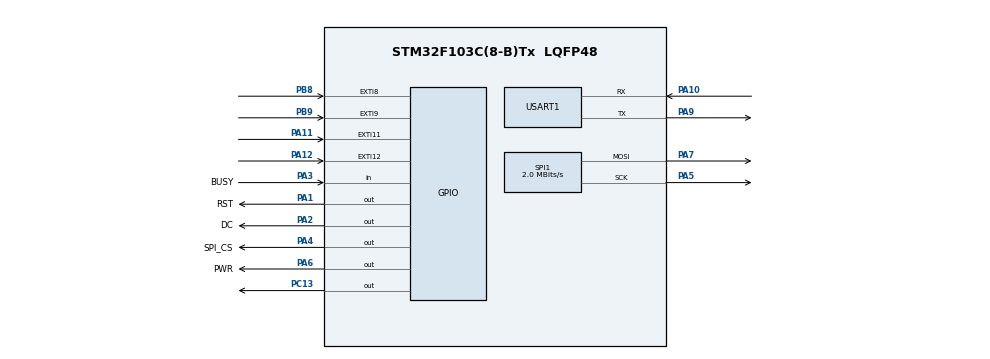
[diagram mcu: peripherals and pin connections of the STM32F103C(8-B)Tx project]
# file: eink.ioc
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Mcu.Family=STM32F1
Mcu.Name=STM32F103C(8-B)Tx
Mcu.Package=LQFP48
NVIC.EXTI15_10_IRQn=true\:0\:0\:false\:false\:true\:true\:true\:true
NVIC.EXTI9_5_IRQn=true\:0\:0\:false\:false\:true\:true\:true\:true
NVIC.PriorityGroup=NVIC_PRIORITYGROUP_4
NVIC.RTC_Alarm_IRQn=true\:0\:0\:false\:false\:true\:true\:true\:true
NVIC.TIM2_IRQn=true\:2\:0\:true\:false\:true\:true\:true\:true
NVIC.TIM3_IRQn=true\:1\:0\:true\:false\:true\:true\:true\:true
NVIC.USART1_IRQn=true\:0\:0\:false\:false\:true\:true\:true\:true
PA0-WKUP.Mode=SYS_WakeUp0
PA0-WKUP.Signal=SYS_WKUP
PA1.GPIO_Label=RST
PA1.Signal=GPIO_Output
PA10.Mode=Asynchronous
PA10.Signal=USART1_RX
PA11.Signal=GPXTI11
PA12.Signal=GPXTI12
PA13.Mode=Serial_Wire
PA13.Signal=SYS_JTMS-SWDIO
PA14.Mode=Serial_Wire
PA14.Signal=SYS_JTCK-SWCLK
PA2.GPIO_Label=DC
PA2.Signal=GPIO_Output
PA3.GPIO_Label=BUSY
PA3.Signal=GPIO_Input
PA4.GPIO_Label=SPI_CS
PA4.Signal=GPIO_Output
PA5.Mode=TX_Only_Simplex_Unidirect_Master
PA5.Signal=SPI1_SCK
PA6.GPIO_Label=PWR
PA6.Signal=GPIO_Output
PA7.Mode=TX_Only_Simplex_Unidirect_Master
PA7.Signal=SPI1_MOSI
PA9.Mode=Asynchronous
PA9.Signal=USART1_TX
PB8.Signal=GPXTI8
PB9.Signal=GPXTI9
PC13-TAMPER-RTC.Signal=GPIO_Output
ProjectManager.HeapSize=0x200
ProjectManager.StackSize=0x400
ProjectManager.TargetToolchain=STM32CubeIDE
RCC.APB1Freq_Value=8000000
RCC.APB2Freq_Value=8000000
SPI1.BaudRatePrescaler=SPI_BAUDRATEPRESCALER_4
SPI1.CalculateBaudRate=2.0 MBits/s
SPI1.Direction=SPI_DIRECTION_2LINES
SPI1.Mode=SPI_MODE_MASTER
SPI1.VirtualType=VM_MASTER
TIM2.Period=9999
TIM2.Prescaler=7999
TIM3.Period=499
TIM3.Prescaler=7999
USART1.VirtualMode=VM_ASYNC
VP_RTC_VS_RTC_Activate.Mode=RTC_Enabled
VP_RTC_VS_RTC_Calendar.Mode=RTC_Calendar
VP_TIM2_VS_ClockSourceINT.Mode=Internal
VP_TIM3_VS_ClockSourceINT.Mode=Internal
board=custom

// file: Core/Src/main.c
/* USER CODE BEGIN Header */
/**
  ******************************************************************************
  * @file           : main.c
  * @brief          : Main program body
  ******************************************************************************
  * @attention
  *
  * Copyright (c) 2024 STMicroelectronics.
  * All rights reserved.
  *
  * This software is licensed under terms that can be found in the LICENSE file
  * in the root directory of this software component.
  * If no LICENSE file comes with this software, it is provided AS-IS.
  *
  ******************************************************************************
  */
/* USER CODE END Header */
#include "main.h"

/* USER CODE BEGIN Includes */
#include "../User/Examples/EPD_Test.h"
#include "../User/e-Paper/EPD_1in54b.h"
#include "mode.h"
#include "pic.h"

/* USER CODE END Includes */

/* USER CODE BEGIN PTD */
typedef enum{
	IDLE,
	BUTTON_0,
	BUTTON_1,
	BUTTON_2,
	BUTTON_3,
	ALARM,
	SLEEP
}t_flag;

/* USER CODE END PTD */

/* USER CODE BEGIN PD */
#define SET 1
/* USER CODE END PD */

RTC_HandleTypeDef hrtc;

SPI_HandleTypeDef hspi1;

TIM_HandleTypeDef htim2;
TIM_HandleTypeDef htim3;

UART_HandleTypeDef huart1;

void SystemClock_Config(void);
static void MX_GPIO_Init(void);
static void MX_SPI1_Init(void);
static void MX_USART1_UART_Init(void);
static void MX_RTC_Init(void);
static void MX_TIM2_Init(void);
static void MX_TIM3_Init(void);
/* USER CODE BEGIN PFP */
void (*button0_mode_ptr)(void);
void (*button1_mode_ptr)(void);
void (*button2_mode_ptr)(void);
void (*button3_mode_ptr)(void);
void sleep_mode(void);
/* USER CODE END PFP */

/* USER CODE BEGIN 0 */
uint8_t blink;
t_flag flag;
uint8_t cycle, temp_cycle, alarm_times;
RTC_TimeTypeDef current_time, temp_time, alarm_time;
RTC_DateTypeDef current_date, temp_date, alarm_date;

UBYTE *BlackImage, *RedImage;
UWORD Imagesize = ((EPD_1IN54B_WIDTH % 8 == 0)? (EPD_1IN54B_WIDTH / 8 ): (EPD_1IN54B_WIDTH / 8 + 1)) * EPD_1IN54B_HEIGHT;

int __io_putchar(uint8_t ch){
	HAL_UART_Transmit(&huart1, &ch, 1, 10);
	return ch;
}

void HAL_GPIO_EXTI_Callback(uint16_t GPIO_Pin){
	/*Reset timer counter*/
	__HAL_TIM_SET_COUNTER(&htim2, 0);

	if(GPIO_Pin == GPIO_PIN_8){
		flag = BUTTON_0;
	}
	if(GPIO_Pin == GPIO_PIN_9){
		flag = BUTTON_1;
	}
	if(GPIO_Pin == GPIO_PIN_11){
		flag = BUTTON_2;
	}
	if(GPIO_Pin == GPIO_PIN_12){
		flag = BUTTON_3;
	}
}

void HAL_RTC_AlarmAEventCallback(RTC_HandleTypeDef *hrtc){
	flag = ALARM;
}

uint8_t tmp = 0;

void HAL_TIM_PeriodElapsedCallback(TIM_HandleTypeDef *htim){
	if(htim->Instance == htim2.Instance){
		flag = SLEEP;
	}
	if(htim->Instance == htim3.Instance){
		tmp++;
		HAL_GPIO_TogglePin(GPIOC, GPIO_PIN_13);
	}
}
/* USER CODE END 0 */

int main(void)
{

  /* MCU Configuration--------------------------------------------------------*/

  /* Reset of all peripherals, Initializes the Flash interface and the Systick. */
  HAL_Init();

  /* Configure the system clock */
  SystemClock_Config();

  /* Initialize all configured peripherals */
  MX_GPIO_Init();
  MX_SPI1_Init();
  MX_USART1_UART_Init();
  MX_RTC_Init();
  MX_TIM2_Init();
  MX_TIM3_Init();
  /* USER CODE BEGIN 2 */
  HAL_TIM_Base_Start_IT(&htim2);
  HAL_TIM_Base_Start_IT(&htim3);
  DEV_Module_Init();
  EPD_1IN54B_Init();

  if((BlackImage = (UBYTE *)malloc(Imagesize)) == NULL) {
      printf("Failed to apply for black memory...\r\n");
      return -1;
  }
  if((RedImage = (UBYTE *)malloc(Imagesize)) == NULL) {
      printf("Failed to apply for red memory...\r\n");
      return -1;
  }

  Paint_NewImage(BlackImage, EPD_1IN54B_WIDTH, EPD_1IN54B_HEIGHT, 270, WHITE);
  Paint_NewImage(RedImage, EPD_1IN54B_WIDTH, EPD_1IN54B_HEIGHT, 270, WHITE);
  Paint_SelectImage(BlackImage);
  Paint_Clear(WHITE);
  Paint_DrawBitMap(stitch);
  Paint_SelectImage(RedImage);
  Paint_Clear(WHITE);
  Paint_DrawBitMap(stitch);
  EPD_1IN54B_Display(BlackImage, RedImage);

  if(SET){
	  current_time.Hours = 17;
	  current_time.Minutes = 24;
	  current_time.Seconds = 30;
	  current_date.Date = 3;
	  current_date.Month = 2;
	  current_date.Year = 24;
	  current_date.WeekDay = 5;
	  HAL_RTC_SetTime(&hrtc, &current_time, RTC_FORMAT_BIN);
	  HAL_RTC_SetDate(&hrtc, &current_date, RTC_FORMAT_BIN);
  }
  flag = IDLE;
  TIM2->CNT = 0;

  HAL_TIM_Base_Start_IT(&htim2);
  HAL_TIM_Base_Start_IT(&htim3);
  /* USER CODE END 2 */

  /* Infinite loop */
  while (1)
  {

    /* USER CODE BEGIN 3 */
	  switch (flag) {
		case SLEEP:
			sleep_mode();
			break;
		default:
		  HAL_RTC_GetTime(&hrtc, &current_time, RTC_FORMAT_BIN);
		  HAL_RTC_GetDate(&hrtc, &current_date, RTC_FORMAT_BIN);
		  display_mode();
		  break;
	}
  }
  /* USER CODE END 3 */
}

void SystemClock_Config(void)
{
  RCC_OscInitTypeDef RCC_OscInitStruct = {0};
  RCC_ClkInitTypeDef RCC_ClkInitStruct = {0};
  RCC_PeriphCLKInitTypeDef PeriphClkInit = {0};

  /** Initializes the RCC Oscillators according to the specified parameters
  * in the RCC_OscInitTypeDef structure.
  */
  RCC_OscInitStruct.OscillatorType = RCC_OSCILLATORTYPE_HSI|RCC_OSCILLATORTYPE_LSI;
  RCC_OscInitStruct.HSIState = RCC_HSI_ON;
  RCC_OscInitStruct.HSICalibrationValue = RCC_HSICALIBRATION_DEFAULT;
  RCC_OscInitStruct.LSIState = RCC_LSI_ON;
  RCC_OscInitStruct.PLL.PLLState = RCC_PLL_NONE;
  if (HAL_RCC_OscConfig(&RCC_OscInitStruct) != HAL_OK)
  {
    Error_Handler();
  }

  /** Initializes the CPU, AHB and APB buses clocks
  */
  RCC_ClkInitStruct.ClockType = RCC_CLOCKTYPE_HCLK|RCC_CLOCKTYPE_SYSCLK
                              |RCC_CLOCKTYPE_PCLK1|RCC_CLOCKTYPE_PCLK2;
  RCC_ClkInitStruct.SYSCLKSource = RCC_SYSCLKSOURCE_HSI;
  RCC_ClkInitStruct.AHBCLKDivider = RCC_SYSCLK_DIV1;
  RCC_ClkInitStruct.APB1CLKDivider = RCC_HCLK_DIV1;
  RCC_ClkInitStruct.APB2CLKDivider = RCC_HCLK_DIV1;

  if (HAL_RCC_ClockConfig(&RCC_ClkInitStruct, FLASH_LATENCY_0) != HAL_OK)
  {
    Error_Handler();
  }
  PeriphClkInit.PeriphClockSelection = RCC_PERIPHCLK_RTC;
  PeriphClkInit.RTCClockSelection = RCC_RTCCLKSOURCE_LSI;
  if (HAL_RCCEx_PeriphCLKConfig(&PeriphClkInit) != HAL_OK)
  {
    Error_Handler();
  }
}

static void MX_RTC_Init(void)
{

  RTC_TimeTypeDef sTime = {0};
  RTC_DateTypeDef DateToUpdate = {0};

  /** Initialize RTC Only
  */
  hrtc.Instance = RTC;
  hrtc.Init.AsynchPrediv = RTC_AUTO_1_SECOND;
  hrtc.Init.OutPut = RTC_OUTPUTSOURCE_ALARM;
  if (HAL_RTC_Init(&hrtc) != HAL_OK)
  {
    Error_Handler();
  }

  /** Initialize RTC and set the Time and Date
  */
  sTime.Hours = 0x0;
  sTime.Minutes = 0x0;
  sTime.Seconds = 0x0;

  if (HAL_RTC_SetTime(&hrtc, &sTime, RTC_FORMAT_BCD) != HAL_OK)
  {
    Error_Handler();
  }
  DateToUpdate.WeekDay = RTC_WEEKDAY_MONDAY;
  DateToUpdate.Month = RTC_MONTH_JANUARY;
  DateToUpdate.Date = 0x1;
  DateToUpdate.Year = 0x0;

  if (HAL_RTC_SetDate(&hrtc, &DateToUpdate, RTC_FORMAT_BCD) != HAL_OK)
  {
    Error_Handler();
  }

}

static void MX_SPI1_Init(void)
{

  /* SPI1 parameter configuration*/
  hspi1.Instance = SPI1;
  hspi1.Init.Mode = SPI_MODE_MASTER;
  hspi1.Init.Direction = SPI_DIRECTION_2LINES;
  hspi1.Init.DataSize = SPI_DATASIZE_8BIT;
  hspi1.Init.CLKPolarity = SPI_POLARITY_LOW;
  hspi1.Init.CLKPhase = SPI_PHASE_1EDGE;
  hspi1.Init.NSS = SPI_NSS_SOFT;
  hspi1.Init.BaudRatePrescaler = SPI_BAUDRATEPRESCALER_4;
  hspi1.Init.FirstBit = SPI_FIRSTBIT_MSB;
  hspi1.Init.TIMode = SPI_TIMODE_DISABLE;
  hspi1.Init.CRCCalculation = SPI_CRCCALCULATION_DISABLE;
  hspi1.Init.CRCPolynomial = 10;
  if (HAL_SPI_Init(&hspi1) != HAL_OK)
  {
    Error_Handler();
  }

}

static void MX_TIM2_Init(void)
{

  TIM_ClockConfigTypeDef sClockSourceConfig = {0};
  TIM_MasterConfigTypeDef sMasterConfig = {0};

  htim2.Instance = TIM2;
  htim2.Init.Prescaler = 7999;
  htim2.Init.CounterMode = TIM_COUNTERMODE_UP;
  htim2.Init.Period = 9999;
  htim2.Init.ClockDivision = TIM_CLOCKDIVISION_DIV1;
  htim2.Init.AutoReloadPreload = TIM_AUTORELOAD_PRELOAD_DISABLE;
  if (HAL_TIM_Base_Init(&htim2) != HAL_OK)
  {
    Error_Handler();
  }
  sClockSourceConfig.ClockSource = TIM_CLOCKSOURCE_INTERNAL;
  if (HAL_TIM_ConfigClockSource(&htim2, &sClockSourceConfig) != HAL_OK)
  {
    Error_Handler();
  }
  sMasterConfig.MasterOutputTrigger = TIM_TRGO_RESET;
  sMasterConfig.MasterSlaveMode = TIM_MASTERSLAVEMODE_DISABLE;
  if (HAL_TIMEx_MasterConfigSynchronization(&htim2, &sMasterConfig) != HAL_OK)
  {
    Error_Handler();
  }

}

static void MX_TIM3_Init(void)
{

  TIM_ClockConfigTypeDef sClockSourceConfig = {0};
  TIM_MasterConfigTypeDef sMasterConfig = {0};

  htim3.Instance = TIM3;
  htim3.Init.Prescaler = 7999;
  htim3.Init.CounterMode = TIM_COUNTERMODE_UP;
  htim3.Init.Period = 499;
  htim3.Init.ClockDivision = TIM_CLOCKDIVISION_DIV1;
  htim3.Init.AutoReloadPreload = TIM_AUTORELOAD_PRELOAD_DISABLE;
  if (HAL_TIM_Base_Init(&htim3) != HAL_OK)
  {
    Error_Handler();
  }
  sClockSourceConfig.ClockSource = TIM_CLOCKSOURCE_INTERNAL;
  if (HAL_TIM_ConfigClockSource(&htim3, &sClockSourceConfig) != HAL_OK)
  {
    Error_Handler();
  }
  sMasterConfig.MasterOutputTrigger = TIM_TRGO_RESET;
  sMasterConfig.MasterSlaveMode = TIM_MASTERSLAVEMODE_DISABLE;
  if (HAL_TIMEx_MasterConfigSynchronization(&htim3, &sMasterConfig) != HAL_OK)
  {
    Error_Handler();
  }

}

static void MX_USART1_UART_Init(void)
{

  huart1.Instance = USART1;
  huart1.Init.BaudRate = 115200;
  huart1.Init.WordLength = UART_WORDLENGTH_8B;
  huart1.Init.StopBits = UART_STOPBITS_1;
  huart1.Init.Parity = UART_PARITY_NONE;
  huart1.Init.Mode = UART_MODE_TX_RX;
  huart1.Init.HwFlowCtl = UART_HWCONTROL_NONE;
  huart1.Init.OverSampling = UART_OVERSAMPLING_16;
  if (HAL_UART_Init(&huart1) != HAL_OK)
  {
    Error_Handler();
  }

}

static void MX_GPIO_Init(void)
{
  GPIO_InitTypeDef GPIO_InitStruct = {0};

  /* GPIO Ports Clock Enable */
  __HAL_RCC_GPIOC_CLK_ENABLE();
  __HAL_RCC_GPIOA_CLK_ENABLE();
  __HAL_RCC_GPIOB_CLK_ENABLE();

  /*Configure GPIO pin Output Level */
  HAL_GPIO_WritePin(GPIOC, GPIO_PIN_13, GPIO_PIN_RESET);

  /*Configure GPIO pin Output Level */
  HAL_GPIO_WritePin(GPIOA, RST_Pin|DC_Pin|SPI_CS_Pin|PWR_Pin, GPIO_PIN_RESET);

  /*Configure GPIO pin : PC13 */
  GPIO_InitStruct.Pin = GPIO_PIN_13;
  GPIO_InitStruct.Mode = GPIO_MODE_OUTPUT_PP;
  GPIO_InitStruct.Pull = GPIO_NOPULL;
  GPIO_InitStruct.Speed = GPIO_SPEED_FREQ_LOW;
  HAL_GPIO_Init(GPIOC, &GPIO_InitStruct);

  /*Configure GPIO pins : RST_Pin DC_Pin SPI_CS_Pin PWR_Pin */
  GPIO_InitStruct.Pin = RST_Pin|DC_Pin|SPI_CS_Pin|PWR_Pin;
  GPIO_InitStruct.Mode = GPIO_MODE_OUTPUT_PP;
  GPIO_InitStruct.Pull = GPIO_NOPULL;
  GPIO_InitStruct.Speed = GPIO_SPEED_FREQ_LOW;
  HAL_GPIO_Init(GPIOA, &GPIO_InitStruct);

  /*Configure GPIO pin : BUSY_Pin */
  GPIO_InitStruct.Pin = BUSY_Pin;
  GPIO_InitStruct.Mode = GPIO_MODE_INPUT;
  GPIO_InitStruct.Pull = GPIO_NOPULL;
  HAL_GPIO_Init(BUSY_GPIO_Port, &GPIO_InitStruct);

  /*Configure GPIO pins : PA11 PA12 */
  GPIO_InitStruct.Pin = GPIO_PIN_11|GPIO_PIN_12;
  GPIO_InitStruct.Mode = GPIO_MODE_IT_RISING;
  GPIO_InitStruct.Pull = GPIO_NOPULL;
  HAL_GPIO_Init(GPIOA, &GPIO_InitStruct);

  /*Configure GPIO pins : PB8 PB9 */
  GPIO_InitStruct.Pin = GPIO_PIN_8|GPIO_PIN_9;
  GPIO_InitStruct.Mode = GPIO_MODE_IT_RISING;
  GPIO_InitStruct.Pull = GPIO_NOPULL;
  HAL_GPIO_Init(GPIOB, &GPIO_InitStruct);

  /* EXTI interrupt init*/
  HAL_NVIC_SetPriority(EXTI9_5_IRQn, 0, 0);
  HAL_NVIC_EnableIRQ(EXTI9_5_IRQn);

  HAL_NVIC_SetPriority(EXTI15_10_IRQn, 0, 0);
  HAL_NVIC_EnableIRQ(EXTI15_10_IRQn);

}

/* USER CODE BEGIN 4 */
void sleep_mode(void){
	  Paint_SelectImage(RedImage);
	  Paint_DrawString_EN(20, 160, "SLEEPING", &Font32, WHITE, RED);
	  EPD_1IN54B_Display(BlackImage, RedImage);

	  EPD_1IN54B_Sleep();
	  free(BlackImage);
	  free(RedImage);
	  BlackImage = NULL;
	  RedImage = NULL;
	  DEV_Module_Exit();
	  printf("Goto Sleep...\r\n");

	  __HAL_PWR_CLEAR_FLAG(PWR_FLAG_WU);
	  HAL_PWR_EnableWakeUpPin(PWR_WAKEUP_PIN1);
	  HAL_PWR_EnterSTANDBYMode();
}
/* USER CODE END 4 */

void Error_Handler(void)
{
  __disable_irq();
  while (1)
  {
  }
}
